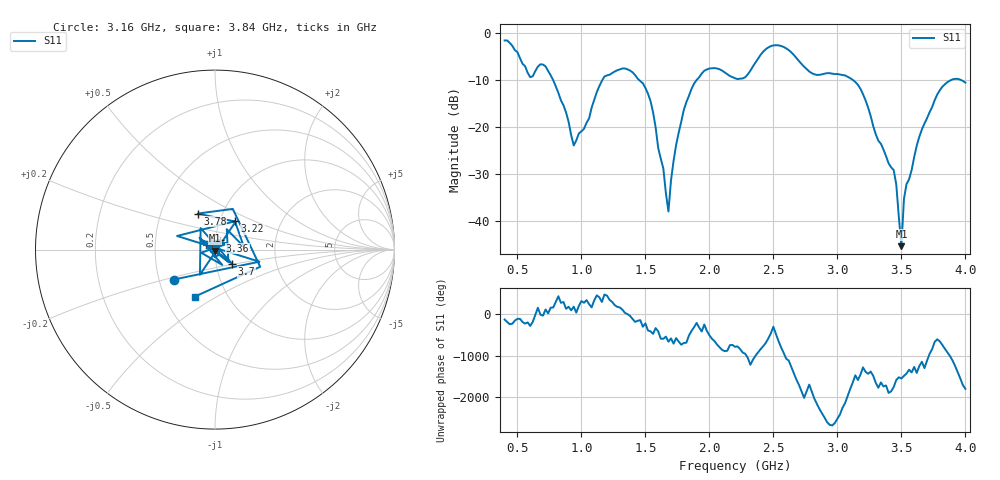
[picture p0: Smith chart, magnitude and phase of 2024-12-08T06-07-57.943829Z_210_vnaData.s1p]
!Created with skrf (http://scikit-rf.org).
# Hz S RI R 50.0
!freq ReS11 ImS11
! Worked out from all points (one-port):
!   181 points, 400 MHz to 4 GHz, reference 50 ohm
!   lowest |S11| = -45.4 dB at 3.5 GHz (marker M1), VSWR 1.01, Z = 49.8 - j0.513 ohm
!   |S11| at or under -10 dB: 779.9 MHz to 1.163 GHz (383 MHz wide, 39.4 % of centre); 1.453 GHz to 1.899 GHz (445.8 MHz wide, 26.6 % of centre); 3.123 GHz to 3.885 GHz (761.7 MHz wide, 21.7 % of centre) (the widest 3 of 4)
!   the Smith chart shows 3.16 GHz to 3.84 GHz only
!   S11 on the Smith chart (normalised r, x): 3.16 GHz: 0.60, -0.22; 3.22 GHz: 1.18, +0.39; 3.36 GHz: 1.05, +0.11; 3.7 GHz: 1.19, -0.19; 3.78 GHz: 0.76, +0.32; 3.84 GHz: 0.70, -0.40
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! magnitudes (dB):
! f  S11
! 400 MHz  -1.5
! 600 MHz  -9.3
! 720 MHz  -7.0
! 860 MHz  -15.3
! 940 MHz  -23.9
! 1.18 GHz  -9.2
! 1.3 GHz  -7.7
! 1.54 GHz  -14.4
! 1.64 GHz  -28.8
! 1.68 GHz  -38.0
! 1.76 GHz  -21.2
! 1.86 GHz  -11.8
! 1.96 GHz  -8.0
! 2.2 GHz  -9.6
! 2.48 GHz  -2.7
! 2.66 GHz  -4.6
! 3.1 GHz  -9.6
! 3.16 GHz  -11.0
! 3.22 GHz  -14.3
! 3.36 GHz  -24.8
! 3.44 GHz  -29.2
! 3.5 GHz  -45.4
! 3.52 GHz  -35.3
! 3.56 GHz  -31.2
! 3.7 GHz  -18.1
! 3.78 GHz  -13.0
! 3.84 GHz  -10.9
! 4 GHz  -10.5
